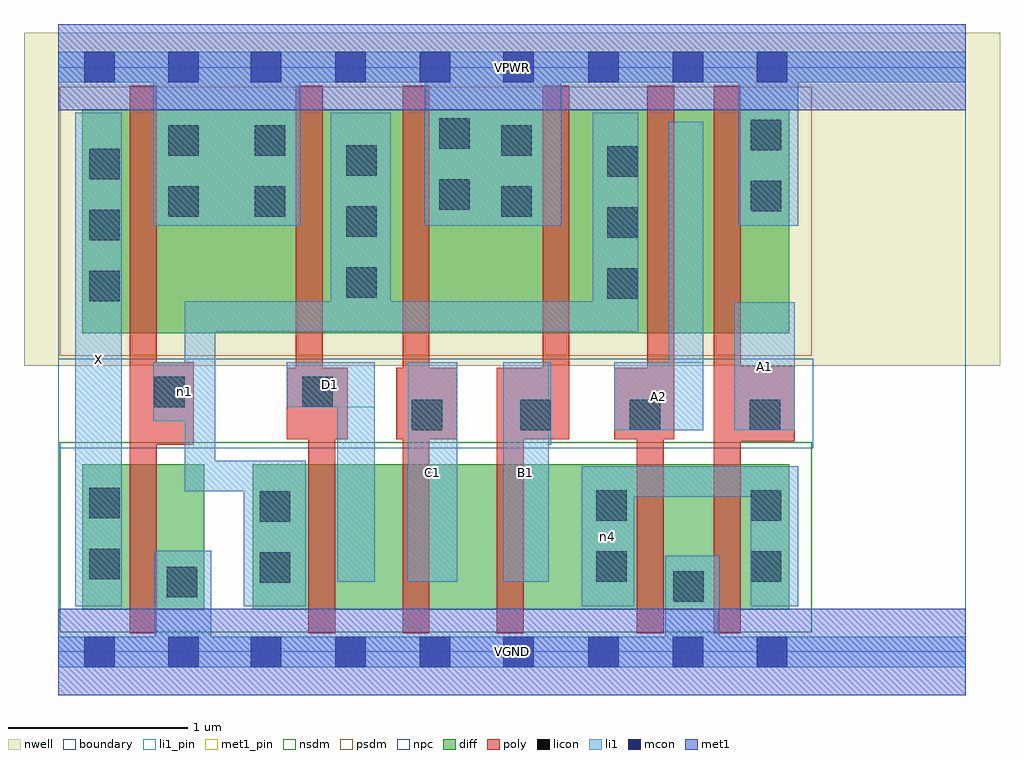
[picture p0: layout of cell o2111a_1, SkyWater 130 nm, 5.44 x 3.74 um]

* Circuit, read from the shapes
.subckt o2111a_1 A1 A2 B1 C1 D1 VGND VPWR X n1 n4
XM1 VGND n1 X VSUBS sky130_fd_pr__nfet_01v8 w=0.81 l=0.15
XM2 n2 D1 n1 VSUBS sky130_fd_pr__nfet_01v8 w=0.81 l=0.15
XM3 n3 C1 n2 VSUBS sky130_fd_pr__nfet_01v8 w=0.81 l=0.15
XM4 n4 B1 n3 VSUBS sky130_fd_pr__nfet_01v8 w=0.81 l=0.15
XM5 VGND A2 n4 VSUBS sky130_fd_pr__nfet_01v8 w=0.81 l=0.15
XM6 n4 A1 VGND VSUBS sky130_fd_pr__nfet_01v8 w=0.81 l=0.15
XM7 VPWR n1 X n5 sky130_fd_pr__pfet_01v8 w=1.25 l=0.15
XM8 n1 D1 VPWR n5 sky130_fd_pr__pfet_01v8 w=1.25 l=0.15
XM9 VPWR C1 n1 n5 sky130_fd_pr__pfet_01v8 w=1.25 l=0.15
XM10 n1 B1 VPWR n5 sky130_fd_pr__pfet_01v8 w=1.25 l=0.15
XM11 n6 A2 n1 n5 sky130_fd_pr__pfet_01v8 w=1.25 l=0.15
XM12 VPWR A1 n6 n5 sky130_fd_pr__pfet_01v8 w=1.25 l=0.15
.ends

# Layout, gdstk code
import gdstk
lib = gdstk.Library(unit=1e-6, precision=1e-09)
def R(c, l, rs):  # rectangles x0, y0, x1, y1
    for r in rs: c.add(gdstk.rectangle(r[:2], r[2:], *l))
def A(c, l, x, y, w, h, nx, ny, dx, dy):  # array of equal rectangles
    R(c, l, [(x+i*dx, y+j*dy, x+i*dx+w, y+j*dy+h) for i in range(nx) for j in range(ny)])
nwell = (64, 20)
diff = (65, 20)
poly = (66, 20)
licon = (66, 44)
li1_pin = (67, 16)
li1 = (67, 20)
mcon = (67, 44)
met1_pin = (68, 16)
met1 = (68, 20)
nsdm = (93, 44)
psdm = (94, 20)
npc = (95, 20)
boundary = (235, 4)

o2111a_1 = lib.new_cell('o2111a_1')
R(o2111a_1, nwell, [(-0.19,1.595,5.25,3.45), (0,1.595,5.06,3.45)])
R(o2111a_1, diff, [(0.135,0.235,0.815,1.045), (1.085,0.235,4.075,1.045), (0.135,1.775,4.075,3.025)])
R(o2111a_1, poly, [(0.4,0.105,0.55,3.155), (1.395,0.105,1.545,1.585), (1.92,0.105,2.07,3.155), (2.445,0.105,2.595,1.585), (3.225,0.105,3.375,1.585), (3.655,0.105,3.805,3.155), (0.4,1.155,0.755,1.615), (3.655,1.175,4.105,1.595), (1.275,1.185,1.615,1.585), (1.325,1.185,1.475,3.155), (1.885,1.185,2.225,1.585), (2.445,1.185,2.85,1.585), (2.7,1.185,2.85,3.155), (3.1,1.185,3.435,1.585), (3.285,1.185,3.435,3.155)])
A(o2111a_1, licon, 0.175, 1.955, 0.17, 0.17, 1, 3, 0, 0.34)
A(o2111a_1, licon, 3.06, 1.97, 0.17, 0.17, 1, 3, 0, 0.34)
A(o2111a_1, licon, 1.605, 1.975, 0.17, 0.17, 1, 3, 0, 0.34)
R(o2111a_1, licon, [(3.43,0.28,3.6,0.45), (0.605,0.305,0.775,0.475), (1.125,0.385,1.295,0.555), (3,0.39,3.17,0.56), (3.86,0.39,4.03,0.56), (0.175,0.405,0.345,0.575), (1.125,0.725,1.295,0.895), (3,0.73,3.17,0.9), (3.86,0.73,4.03,0.9), (0.175,0.745,0.345,0.915), (1.97,1.235,2.14,1.405), (2.575,1.235,2.745,1.405), (3.185,1.235,3.355,1.405), (3.855,1.235,4.025,1.405), (0.535,1.365,0.705,1.535), (1.36,1.365,1.53,1.535), (0.615,2.425,0.785,2.595), (1.095,2.425,1.265,2.595), (2.47,2.425,2.64,2.595), (3.86,2.455,4.03,2.625), (2.125,2.465,2.295,2.635), (0.615,2.765,0.785,2.935), (1.095,2.765,1.265,2.935), (2.47,2.765,2.64,2.935), (3.86,2.795,4.03,2.965), (2.125,2.805,2.295,2.975)])
R(o2111a_1, li1_pin, [(0.095,0.255,0.355,3.005), (1.95,0.39,2.225,1.615), (2.48,0.39,2.735,1.615), (3.1,1.235,3.595,1.615), (3.77,1.235,4.105,1.95), (1.275,1.365,1.765,1.615)])
R(o2111a_1, li1, [(0,-0.085,5.06,0.085), (0.54,-0.085,0.855,0.565), (3.385,-0.085,3.685,0.535), (0.095,0.255,0.355,3.005), (1.035,0.255,1.38,1.065), (2.92,0.255,3.21,1.035), (3.86,0.255,4.125,1.035), (1.555,0.39,1.765,1.615), (1.95,0.39,2.225,1.615), (2.48,0.39,2.735,1.615), (2.92,0.865,4.125,1.035), (0.705,0.895,0.875,1.955), (0.705,0.895,1.38,1.065), (2.48,1.155,2.75,1.615), (3.1,1.235,3.595,1.615), (3.405,1.235,3.595,2.955), (3.77,1.235,4.105,1.95), (0.53,1.285,0.875,1.615), (1.275,1.365,1.765,1.615), (0.705,1.785,3.235,1.955), (1.52,1.785,1.855,3.005), (2.98,1.785,3.235,3.005), (0.53,2.375,1.35,3.345), (2.045,2.375,2.805,3.345), (3.795,2.375,4.125,3.345), (0,3.175,5.06,3.345)])
A(o2111a_1, mcon, 1.075, -0.085, 0.17, 0.17, 3, 2, 0.47, 3.26)
A(o2111a_1, mcon, 2.955, -0.085, 0.17, 0.17, 3, 2, 0.47, 3.26)
R(o2111a_1, mcon, [(0.145,-0.085,0.315,0.085), (0.615,-0.085,0.785,0.085), (2.48,-0.085,2.65,0.085), (0.145,3.175,0.315,3.345), (0.615,3.175,0.785,3.345), (2.48,3.175,2.65,3.345)])
R(o2111a_1, met1_pin, [(0,-0.24,5.06,0.24), (0,3.02,5.06,3.5)])
R(o2111a_1, met1, [(0,-0.24,5.06,0.24), (0,3.02,5.06,3.5)])
R(o2111a_1, nsdm, [(0.01,0.11,4.2,1.17)])
R(o2111a_1, psdm, [(0.01,1.65,4.2,3.15)])
R(o2111a_1, npc, [(0,1.135,4.21,1.635)])
R(o2111a_1, boundary, [(0,0,5.06,3.26)])
o2111a_1.add(gdstk.Label('A1', (3.937,1.592), layer=67, texttype=5))
o2111a_1.add(gdstk.Label('A2', (3.347,1.425), layer=67, texttype=5))
o2111a_1.add(gdstk.Label('B1', (2.607,1.002), layer=67, texttype=5))
o2111a_1.add(gdstk.Label('C1', (2.087,1.002), layer=67, texttype=5))
o2111a_1.add(gdstk.Label('D1', (1.52,1.49), layer=67, texttype=5))
o2111a_1.add(gdstk.Label('X', (0.225,1.63), layer=67, texttype=5))
o2111a_1.add(gdstk.Label('n4', (3.065,0.645), layer=67, texttype=5))
o2111a_1.add(gdstk.Label('n1', (0.702,1.45), layer=67, texttype=5))
o2111a_1.add(gdstk.Label('VPWR', (2.53,3.26), layer=68, texttype=5))
o2111a_1.add(gdstk.Label('VGND', (2.53,0), layer=68, texttype=5))
o2111a_1.add(gdstk.Label('A1', (3.937,1.592), layer=67, texttype=16))
o2111a_1.add(gdstk.Label('A2', (3.347,1.425), layer=67, texttype=16))
o2111a_1.add(gdstk.Label('B1', (2.607,1.002), layer=67, texttype=16))
o2111a_1.add(gdstk.Label('C1', (2.087,1.002), layer=67, texttype=16))
o2111a_1.add(gdstk.Label('D1', (1.52,1.49), layer=67, texttype=16))
o2111a_1.add(gdstk.Label('X', (0.225,1.63), layer=67, texttype=16))
o2111a_1.add(gdstk.Label('VPWR', (2.53,3.26), layer=68, texttype=16))
o2111a_1.add(gdstk.Label('VGND', (2.53,0), layer=68, texttype=16))

lib.write_gds('o2111a_1.gds')
